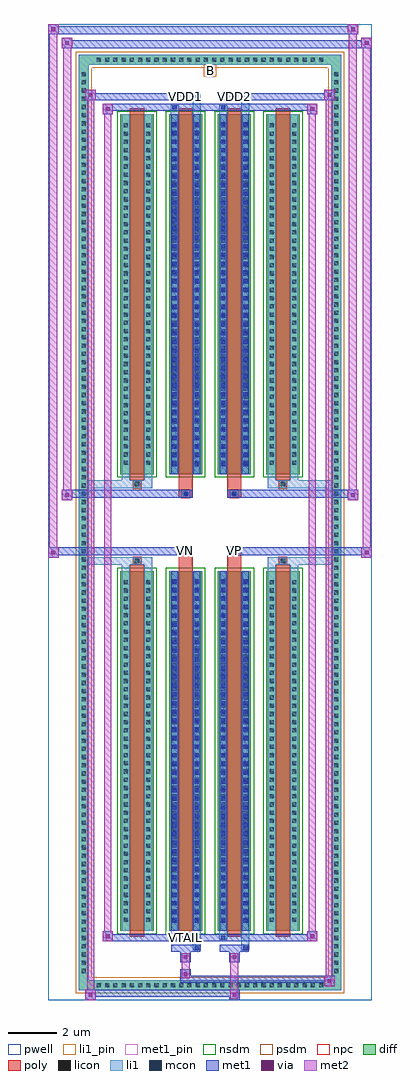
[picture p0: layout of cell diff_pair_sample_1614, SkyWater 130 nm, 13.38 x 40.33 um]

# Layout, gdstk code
import gdstk
lib = gdstk.Library(unit=1e-6, precision=5e-09)
def R(c, l, rs):  # rectangles x0, y0, x1, y1
    for r in rs: c.add(gdstk.rectangle(r[:2], r[2:], *l))
def A(c, l, x, y, w, h, nx, ny, dx, dy):  # array of equal rectangles
    R(c, l, [(x+i*dx, y+j*dy, x+i*dx+w, y+j*dy+h) for i in range(nx) for j in range(ny)])
def P(c, l, *ps):  # polygons
    for p in ps: c.add(gdstk.Polygon(p, *l))
pwell = (64, 44)
diff = (65, 20)
poly = (66, 20)
licon = (66, 44)
li1_pin = (67, 16)
li1 = (67, 20)
mcon = (67, 44)
met1_pin = (68, 16)
met1 = (68, 20)
via = (68, 44)
met2 = (69, 20)
nsdm = (93, 44)
psdm = (94, 20)
npc = (95, 20)

diff_pair_sample_1614 = lib.new_cell('diff_pair_sample_1614')
R(diff_pair_sample_1614, pwell, [(-6.69,-19.73,6.69,20.6), (-4.01,-17.92,-0.01,-0.82), (0.01,-17.92,4.01,-0.82), (-4.01,0.82,-0.01,17.92), (0.01,0.82,4.01,17.92)])
A(diff_pair_sample_1614, diff, -4.795, -19.33, 0.41, 0.41, 28, 2, 0.34, 38.25)
A(diff_pair_sample_1614, diff, -5.42, -18.735, 0.41, 0.41, 1, 110, 0, 0.34)
A(diff_pair_sample_1614, diff, 5.01, -18.735, 0.41, 0.41, 1, 110, 0, 0.34)
A(diff_pair_sample_1614, diff, -3.7, -16.875, 1.37, 14.87, 4, 2, 2.01, 18.88)
R(diff_pair_sample_1614, diff, [(-4.795,-19.33,4.795,-18.92), (-5.42,-18.735,-5.01,18.735), (5.01,-18.735,5.42,18.735), (-4.795,18.92,4.795,19.33)])
P(diff_pair_sample_1614, diff, [(5.42,19.33),(-5.42,19.33),(-5.42,-18.92),(-5.01,-18.92),(-5.01,18.92),(5.01,18.92),(5.01,-18.92),(-5.01,-18.92),(-5.42,-18.92),(-5.42,-19.33),(5.42,-19.33)])
A(diff_pair_sample_1614, poly, -3.31, -17.125, 0.59, 15.37, 4, 2, 2.01, 18.88)
R(diff_pair_sample_1614, poly, [(-3.18,-1.755,-2.85,-1.425), (-3.18,-1.755,-2.85,-1.425), (-1.3,-1.755,-0.71,-1.35), (0.71,-1.755,1.3,-1.35), (2.85,-1.755,3.18,-1.425), (2.85,-1.755,3.18,-1.425), (-1.3,-1.35,-0.71,-1.02), (-1.17,-1.35,-0.84,-1.02), (0.71,-1.35,1.3,-1.02), (0.84,-1.35,1.17,-1.02), (-1.3,1.02,-0.71,1.35), (-1.17,1.02,-0.84,1.35), (0.71,1.02,1.3,1.35), (0.84,1.02,1.17,1.35), (-1.3,1.35,-0.71,1.755), (0.71,1.35,1.3,1.755), (-3.18,1.425,-2.85,1.755), (-3.18,1.425,-2.85,1.755), (2.85,1.425,3.18,1.755), (2.85,1.425,3.18,1.755)])
A(diff_pair_sample_1614, licon, -4.675, -19.21, 0.17, 0.17, 28, 2, 0.34, 38.25)
A(diff_pair_sample_1614, licon, -5.3, -18.615, 0.17, 0.17, 1, 110, 0, 0.34)
A(diff_pair_sample_1614, licon, 5.13, -18.615, 0.17, 0.17, 1, 110, 0, 0.34)
A(diff_pair_sample_1614, licon, -3.56, -16.495, 0.17, 0.17, 1, 42, 0, 0.34)
A(diff_pair_sample_1614, licon, -2.64, -16.495, 0.17, 0.17, 1, 42, 0, 0.34)
A(diff_pair_sample_1614, licon, -1.55, -16.495, 0.17, 0.17, 1, 42, 0, 0.34)
A(diff_pair_sample_1614, licon, -0.63, -16.495, 0.17, 0.17, 1, 42, 0, 0.34)
A(diff_pair_sample_1614, licon, 0.46, -16.495, 0.17, 0.17, 1, 42, 0, 0.34)
A(diff_pair_sample_1614, licon, 1.38, -16.495, 0.17, 0.17, 1, 42, 0, 0.34)
A(diff_pair_sample_1614, licon, 2.47, -16.495, 0.17, 0.17, 1, 42, 0, 0.34)
A(diff_pair_sample_1614, licon, 3.39, -16.495, 0.17, 0.17, 1, 42, 0, 0.34)
A(diff_pair_sample_1614, licon, -3.56, 2.385, 0.17, 0.17, 1, 42, 0, 0.34)
A(diff_pair_sample_1614, licon, -2.64, 2.385, 0.17, 0.17, 1, 42, 0, 0.34)
A(diff_pair_sample_1614, licon, -1.55, 2.385, 0.17, 0.17, 1, 42, 0, 0.34)
A(diff_pair_sample_1614, licon, -0.63, 2.385, 0.17, 0.17, 1, 42, 0, 0.34)
A(diff_pair_sample_1614, licon, 0.46, 2.385, 0.17, 0.17, 1, 42, 0, 0.34)
A(diff_pair_sample_1614, licon, 1.38, 2.385, 0.17, 0.17, 1, 42, 0, 0.34)
A(diff_pair_sample_1614, licon, 2.47, 2.385, 0.17, 0.17, 1, 42, 0, 0.34)
A(diff_pair_sample_1614, licon, 3.39, 2.385, 0.17, 0.17, 1, 42, 0, 0.34)
R(diff_pair_sample_1614, licon, [(-3.1,-1.675,-2.93,-1.505), (2.93,-1.675,3.1,-1.505), (-1.09,-1.27,-0.92,-1.1), (0.92,-1.27,1.09,-1.1), (-1.09,1.1,-0.92,1.27), (0.92,1.1,1.09,1.27), (-3.1,1.505,-2.93,1.675), (2.93,1.505,3.1,1.675)])
R(diff_pair_sample_1614, li1_pin, [(-0.25,18.42,0.25,18.92)])
A(diff_pair_sample_1614, li1, -4.755, -19.29, 0.33, 0.33, 28, 2, 0.34, 38.25)
A(diff_pair_sample_1614, li1, -5.38, -18.695, 0.33, 0.33, 1, 110, 0, 0.34)
A(diff_pair_sample_1614, li1, 5.05, -18.695, 0.33, 0.33, 1, 110, 0, 0.34)
A(diff_pair_sample_1614, li1, -3.64, -16.575, 0.33, 0.33, 1, 42, 0, 0.34)
A(diff_pair_sample_1614, li1, -2.72, -16.575, 0.33, 0.33, 1, 42, 0, 0.34)
A(diff_pair_sample_1614, li1, -1.63, -16.575, 0.33, 0.33, 1, 42, 0, 0.34)
A(diff_pair_sample_1614, li1, -0.71, -16.575, 0.33, 0.33, 1, 42, 0, 0.34)
A(diff_pair_sample_1614, li1, 0.38, -16.575, 0.33, 0.33, 1, 42, 0, 0.34)
A(diff_pair_sample_1614, li1, 1.3, -16.575, 0.33, 0.33, 1, 42, 0, 0.34)
A(diff_pair_sample_1614, li1, 2.39, -16.575, 0.33, 0.33, 1, 42, 0, 0.34)
A(diff_pair_sample_1614, li1, 3.31, -16.575, 0.33, 0.33, 1, 42, 0, 0.34)
A(diff_pair_sample_1614, li1, -1.55, -16.545, 0.17, 0.17, 1, 40, 0, 0.36)
A(diff_pair_sample_1614, li1, -0.63, -16.545, 0.17, 0.17, 1, 40, 0, 0.36)
A(diff_pair_sample_1614, li1, 0.46, -16.545, 0.17, 0.17, 1, 40, 0, 0.36)
A(diff_pair_sample_1614, li1, 1.38, -16.545, 0.17, 0.17, 1, 40, 0, 0.36)
A(diff_pair_sample_1614, li1, -3.64, 2.305, 0.33, 0.33, 1, 42, 0, 0.34)
A(diff_pair_sample_1614, li1, -2.72, 2.305, 0.33, 0.33, 1, 42, 0, 0.34)
A(diff_pair_sample_1614, li1, -1.63, 2.305, 0.33, 0.33, 1, 42, 0, 0.34)
A(diff_pair_sample_1614, li1, -0.71, 2.305, 0.33, 0.33, 1, 42, 0, 0.34)
A(diff_pair_sample_1614, li1, 0.38, 2.305, 0.33, 0.33, 1, 42, 0, 0.34)
A(diff_pair_sample_1614, li1, 1.3, 2.305, 0.33, 0.33, 1, 42, 0, 0.34)
A(diff_pair_sample_1614, li1, 2.39, 2.305, 0.33, 0.33, 1, 42, 0, 0.34)
A(diff_pair_sample_1614, li1, 3.31, 2.305, 0.33, 0.33, 1, 42, 0, 0.34)
A(diff_pair_sample_1614, li1, -1.55, 2.335, 0.17, 0.17, 1, 40, 0, 0.36)
A(diff_pair_sample_1614, li1, -0.63, 2.335, 0.17, 0.17, 1, 40, 0, 0.36)
A(diff_pair_sample_1614, li1, 0.46, 2.335, 0.17, 0.17, 1, 40, 0, 0.36)
A(diff_pair_sample_1614, li1, 1.38, 2.335, 0.17, 0.17, 1, 40, 0, 0.36)
R(diff_pair_sample_1614, li1, [(-5.42,-19.33,-5.01,-18.92), (-5.42,-19.33,-5.01,-18.92), (-5.01,-19.33,5.01,-18.92), (5.01,-19.33,5.42,-18.92), (5.01,-19.33,5.42,-18.92), (-5.42,-18.92,-5.01,18.92), (5.01,-18.92,5.42,18.92), (-0.71,-17.68,-0.38,-16.875), (-0.63,-17.68,-0.46,-17.51), (1.3,-17.68,1.63,-16.875), (1.38,-17.68,1.55,-17.51), (-1.63,-17.25,-1.3,-16.875), (-1.55,-17.25,-1.38,-17.08), (0.38,-17.25,0.71,-16.875), (0.46,-17.25,0.63,-17.08), (-3.64,-16.875,-3.31,-2.005), (-2.72,-16.875,-2.39,-2.005), (-1.63,-16.875,-1.3,-2.005), (-0.71,-16.875,-0.38,-2.005), (0.38,-16.875,0.71,-2.005), (1.3,-16.875,1.63,-2.005), (2.39,-16.875,2.72,-2.005), (3.31,-16.875,3.64,-2.005), (-1.55,-16.545,-1.38,-2.335), (-0.63,-16.545,-0.46,-2.335), (0.46,-16.545,0.63,-2.335), (1.38,-16.545,1.55,-2.335), (-3.64,-2.005,-3.31,-1.425), (-2.72,-2.005,-2.39,-1.425), (2.39,-2.005,2.72,-1.425), (3.31,-2.005,3.64,-1.425), (-5.42,-1.755,-3.18,-1.425), (-3.64,-1.755,-3.18,-1.425), (-3.18,-1.755,-2.85,-1.425), (-2.85,-1.755,-2.39,-1.425), (2.39,-1.755,2.85,-1.425), (2.85,-1.755,3.18,-1.425), (2.85,-1.755,5.42,-1.425), (3.18,-1.755,3.64,-1.425), (-1.17,-1.35,-0.84,-1.02), (0.84,-1.35,1.17,-1.02), (-1.17,1.02,-0.84,1.35), (0.84,1.02,1.17,1.35), (-5.42,1.425,-3.18,1.755), (-3.64,1.425,-3.18,1.755), (-3.64,1.425,-3.31,2.005), (-3.18,1.425,-2.85,1.755), (-2.85,1.425,-2.39,1.755), (-2.72,1.425,-2.39,2.005), (2.39,1.425,2.85,1.755), (2.39,1.425,2.72,2.005), (2.85,1.425,3.18,1.755), (2.85,1.425,5.42,1.755), (3.18,1.425,3.64,1.755), (3.31,1.425,3.64,2.005), (-3.64,2.005,-3.31,16.875), (-2.72,2.005,-2.39,16.875), (-1.63,2.005,-1.3,16.875), (-0.71,2.005,-0.38,16.875), (0.38,2.005,0.71,16.875), (1.3,2.005,1.63,16.875), (2.39,2.005,2.72,16.875), (3.31,2.005,3.64,16.875), (-1.55,2.335,-1.38,16.545), (-0.63,2.335,-0.46,16.545), (0.46,2.335,0.63,16.545), (1.38,2.335,1.55,16.545), (-1.63,16.875,-1.3,17.25), (-0.71,16.875,-0.38,17.68), (0.38,16.875,0.71,17.25), (1.3,16.875,1.63,17.68), (-1.55,17.08,-1.38,17.25), (0.46,17.08,0.63,17.25), (-0.63,17.51,-0.46,17.68), (1.38,17.51,1.55,17.68), (-5.42,18.92,-5.01,19.33), (-5.42,18.92,-5.01,19.33), (-5.01,18.92,5.01,19.33), (5.01,18.92,5.42,19.33), (5.01,18.92,5.42,19.33)])
A(diff_pair_sample_1614, mcon, -1.55, -16.545, 0.17, 0.17, 1, 40, 0, 0.36)
A(diff_pair_sample_1614, mcon, -0.63, -16.545, 0.17, 0.17, 1, 40, 0, 0.36)
A(diff_pair_sample_1614, mcon, 0.46, -16.545, 0.17, 0.17, 1, 40, 0, 0.36)
A(diff_pair_sample_1614, mcon, 1.38, -16.545, 0.17, 0.17, 1, 40, 0, 0.36)
A(diff_pair_sample_1614, mcon, -1.55, 2.335, 0.17, 0.17, 1, 40, 0, 0.36)
A(diff_pair_sample_1614, mcon, -0.63, 2.335, 0.17, 0.17, 1, 40, 0, 0.36)
A(diff_pair_sample_1614, mcon, 0.46, 2.335, 0.17, 0.17, 1, 40, 0, 0.36)
A(diff_pair_sample_1614, mcon, 1.38, 2.335, 0.17, 0.17, 1, 40, 0, 0.36)
R(diff_pair_sample_1614, mcon, [(-0.63,-17.68,-0.46,-17.51), (1.38,-17.68,1.55,-17.51), (-1.55,-17.25,-1.38,-17.08), (0.46,-17.25,0.63,-17.08), (-1.09,-1.27,-0.92,-1.1), (0.92,-1.27,1.09,-1.1), (-1.09,1.1,-0.92,1.27), (0.92,1.1,1.09,1.27), (-1.55,17.08,-1.38,17.25), (0.46,17.08,0.63,17.25), (-0.63,17.51,-0.46,17.68), (1.38,17.51,1.55,17.68)])
R(diff_pair_sample_1614, met1_pin, [(-1.14,-17.29,-0.87,-17.02), (-1.14,-1.29,-0.87,-1.02), (0.87,-1.29,1.14,-1.02), (-1.14,17.47,-0.87,17.74), (0.87,17.47,1.14,17.74)])
A(diff_pair_sample_1614, met1, -1.61, -16.605, 0.29, 0.29, 1, 40, 0, 0.36)
A(diff_pair_sample_1614, met1, -0.69, -16.605, 0.29, 0.29, 1, 40, 0, 0.36)
A(diff_pair_sample_1614, met1, 0.4, -16.605, 0.29, 0.29, 1, 40, 0, 0.36)
A(diff_pair_sample_1614, met1, 1.32, -16.605, 0.29, 0.29, 1, 40, 0, 0.36)
A(diff_pair_sample_1614, met1, -1.61, 2.275, 0.29, 0.29, 1, 40, 0, 0.36)
A(diff_pair_sample_1614, met1, -0.69, 2.275, 0.29, 0.29, 1, 40, 0, 0.36)
A(diff_pair_sample_1614, met1, 0.4, 2.275, 0.29, 0.29, 1, 40, 0, 0.36)
A(diff_pair_sample_1614, met1, 1.32, 2.275, 0.29, 0.29, 1, 40, 0, 0.36)
R(diff_pair_sample_1614, met1, [(-5.15,-19.73,-4.72,-19.3), (0.79,-19.73,1.22,-19.3), (-5.15,-19.59,1.22,-19.3), (4.72,-19.16,5.15,-18.73), (-1.22,-19.02,5.15,-18.73), (-1.22,-18.88,-0.79,-18.45), (-1.22,-18.17,-0.79,-17.74), (0.79,-18.17,1.22,-17.74), (-1.61,-17.74,-0.4,-17.45), (-0.69,-17.74,-0.4,-17.45), (0.4,-17.74,1.61,-17.45), (1.32,-17.74,1.61,-17.45), (-4.44,-17.31,-4.01,-16.88), (-4.44,-17.31,-1.61,-17.02), (-1.61,-17.31,-1.32,-17.02), (-1.61,-17.31,-0.4,-17.02), (-0.4,-17.31,0.4,-17.02), (0.4,-17.31,0.69,-17.02), (0.4,-17.31,1.61,-17.02), (1.61,-17.31,4.44,-17.02), (4.01,-17.31,4.44,-16.88), (-1.61,-16.875,-1.32,-2.005), (-0.69,-16.875,-0.4,-2.005), (0.4,-16.875,0.69,-2.005), (1.32,-16.875,1.61,-2.005), (-6.69,-1.45,-6.26,-1.02), (6.26,-1.45,6.69,-1.02), (-6.69,-1.35,-0.71,-1.02), (-1.3,-1.35,-0.71,-1.02), (0.71,-1.35,1.3,-1.02), (0.71,-1.35,6.69,-1.02), (-1.15,-1.33,-0.86,-1.04), (0.86,-1.33,1.15,-1.04), (-6.12,0.92,-5.69,1.35), (5.69,0.92,6.12,1.35), (-6.12,1.02,-1.3,1.35), (-1.3,1.02,-0.71,1.35), (0.71,1.02,1.3,1.35), (1.3,1.02,6.12,1.35), (-1.15,1.04,-0.86,1.33), (0.86,1.04,1.15,1.33), (-1.61,2.005,-1.32,16.875), (-0.69,2.005,-0.4,16.875), (0.4,2.005,0.69,16.875), (1.32,2.005,1.61,16.875), (-4.44,16.88,-4.01,17.31), (4.01,16.88,4.44,17.31), (-4.44,17.02,-1.61,17.31), (-1.61,17.02,-1.32,17.31), (-1.61,17.02,-0.4,17.31), (-0.4,17.02,0.4,17.31), (0.4,17.02,0.69,17.31), (0.4,17.02,1.61,17.31), (1.61,17.02,4.44,17.31), (-5.15,17.45,-4.72,17.88), (-5.15,17.45,-1.61,17.74), (-1.61,17.45,-0.4,17.74), (-0.69,17.45,-0.4,17.74), (0.4,17.45,1.61,17.74), (1.32,17.45,1.61,17.74), (1.61,17.45,5.15,17.74), (4.72,17.45,5.15,17.88), (-6.12,19.6,-5.69,20.03), (-6.12,19.6,-4.01,19.93), (-4.01,19.6,4.01,19.93), (4.01,19.6,6.69,19.93), (6.26,19.6,6.69,20.03), (-6.69,20.17,-6.26,20.6), (-6.69,20.17,-4.01,20.5), (-4.01,20.17,4.01,20.5), (4.01,20.17,6.12,20.5), (5.69,20.17,6.12,20.6)])
R(diff_pair_sample_1614, via, [(-5.01,-19.59,-4.86,-19.44), (0.93,-19.59,1.08,-19.44), (4.86,-19.02,5.01,-18.87), (-1.08,-18.74,-0.93,-18.59), (-1.08,-18.03,-0.93,-17.88), (0.93,-18.03,1.08,-17.88), (-4.3,-17.17,-4.15,-17.02), (4.15,-17.17,4.3,-17.02), (-6.55,-1.31,-6.4,-1.16), (6.4,-1.31,6.55,-1.16), (-5.98,1.06,-5.83,1.21), (5.83,1.06,5.98,1.21), (-4.3,17.02,-4.15,17.17), (4.15,17.02,4.3,17.17), (-5.01,17.59,-4.86,17.74), (4.86,17.59,5.01,17.74), (-5.98,19.74,-5.83,19.89), (6.4,19.74,6.55,19.89), (-6.55,20.31,-6.4,20.46), (5.83,20.31,5.98,20.46)])
R(diff_pair_sample_1614, met2, [(-5.15,-19.73,-4.72,-19.3), (-5.08,-19.73,-4.79,17.88), (-4.79,-19.73,-4.72,-19.3), (-5.1,-19.68,-4.77,-19.35), (0.84,-19.68,1.17,-19.35), (0.84,-19.35,1.17,-18.12), (4.72,-19.16,5.15,-18.73), (4.79,-19.16,5.08,17.88), (5.08,-19.16,5.15,-18.73), (4.77,-19.11,5.1,-18.78), (-1.17,-18.83,-0.84,-18.5), (-1.17,-18.5,-0.84,-18.12), (-1.17,-18.12,-0.84,-17.79), (0.84,-18.12,1.17,-17.79), (-4.44,-17.31,-4.01,-16.88), (-4.37,-17.31,-4.08,17.31), (-4.08,-17.31,-4.01,-16.88), (4.01,-17.31,4.44,-16.88), (4.08,-17.31,4.37,17.31), (4.37,-17.31,4.44,-16.88), (-4.39,-17.26,-4.06,-16.93), (4.06,-17.26,4.39,-16.93), (-6.69,-1.45,-6.26,-1.02), (-6.64,-1.45,-6.31,20.6), (-6.31,-1.45,-6.26,-1.02), (6.26,-1.45,6.69,-1.02), (6.31,-1.45,6.64,20.03), (6.64,-1.45,6.69,-1.02), (-6.64,-1.4,-6.31,-1.07), (6.31,-1.4,6.64,-1.07), (-6.12,0.92,-5.69,1.35), (-6.07,0.92,-5.74,20.03), (-5.74,0.92,-5.69,1.35), (5.69,0.92,6.12,1.35), (5.74,0.92,6.07,20.6), (6.07,0.92,6.12,1.35), (-6.07,0.97,-5.74,1.3), (5.74,0.97,6.07,1.3), (-4.44,16.88,-4.01,17.31), (-4.08,16.88,-4.01,17.31), (4.01,16.88,4.44,17.31), (4.37,16.88,4.44,17.31), (-4.39,16.93,-4.06,17.26), (4.06,16.93,4.39,17.26), (-5.15,17.45,-4.72,17.88), (-4.79,17.45,-4.72,17.88), (4.72,17.45,5.15,17.88), (5.08,17.45,5.15,17.88), (-5.1,17.5,-4.77,17.83), (4.77,17.5,5.1,17.83), (-6.12,19.6,-5.69,20.03), (-5.74,19.6,-5.69,20.03), (6.26,19.6,6.69,20.03), (6.64,19.6,6.69,20.03), (-6.07,19.65,-5.74,19.98), (6.31,19.65,6.64,19.98), (-6.69,20.17,-6.26,20.6), (-6.31,20.17,-6.26,20.6), (5.69,20.17,6.12,20.6), (6.07,20.17,6.12,20.6), (-6.64,20.22,-6.31,20.55), (5.74,20.22,6.07,20.55)])
A(diff_pair_sample_1614, nsdm, -3.83, -17.005, 1.63, 15.13, 4, 2, 2.01, 18.88)
P(diff_pair_sample_1614, psdm, [(5.55,19.46),(-5.55,19.46),(-5.55,-18.79),(-4.88,-18.79),(-4.88,18.79),(4.88,18.79),(4.88,-18.79),(-4.88,-18.79),(-5.55,-18.79),(-5.55,-19.46),(5.55,-19.46)])
R(diff_pair_sample_1614, npc, [(-3.2,-1.775,-2.83,-1.405), (2.83,-1.775,3.2,-1.405), (-1.19,-1.37,-0.82,-1), (0.82,-1.37,1.19,-1), (-1.19,1,-0.82,1.37), (0.82,1,1.19,1.37), (-3.2,1.405,-2.83,1.775), (2.83,1.405,3.2,1.775)])
diff_pair_sample_1614.add(gdstk.Label('VTAIL', (-1.005,-17.155), layer=68, texttype=5))
diff_pair_sample_1614.add(gdstk.Label('VN', (-1.005,-1.155), layer=68, texttype=5))
diff_pair_sample_1614.add(gdstk.Label('VP', (1.005,-1.155), layer=68, texttype=5))
diff_pair_sample_1614.add(gdstk.Label('B', (0,18.67), layer=67, texttype=5))
diff_pair_sample_1614.add(gdstk.Label('VDD2', (1.005,17.605), layer=68, texttype=5))
diff_pair_sample_1614.add(gdstk.Label('VDD1', (-1.005,17.605), layer=68, texttype=5))

lib.write_gds('diff_pair_sample_1614.gds')
